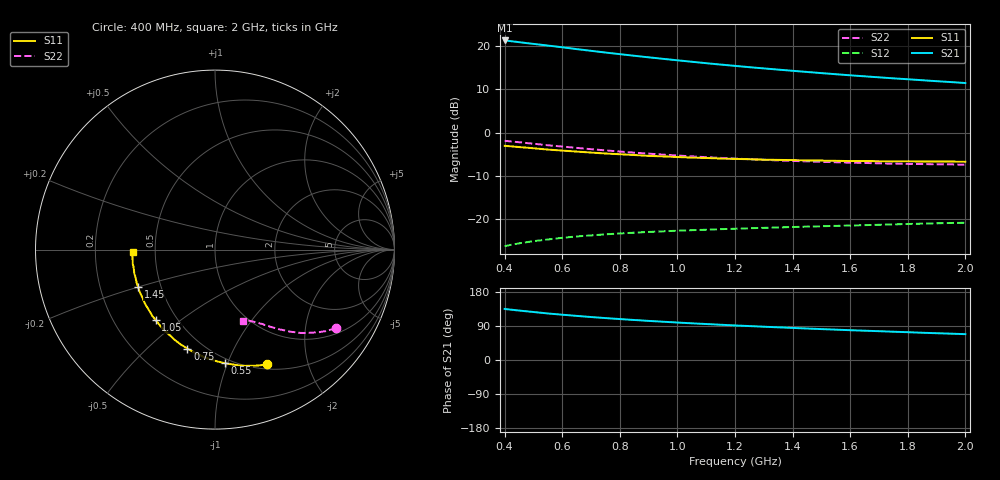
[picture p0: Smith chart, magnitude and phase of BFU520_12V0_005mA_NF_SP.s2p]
! Filename:  P:\Prog\Test\Noise\ATS_data\Testdata_Net\06 Compressed Noise after Statistics\BFU520_APG2013_37_A05_12p0V_005mA_NF_CM01_D.sf
! Date/Time: Fri 26/Apr/2013 14:13:13
! BFU520_APG2013_37_A05_12p0V_1to20mA_NF_CM01_Bias4_R.sf
! Noise Parameter Data File
! BFU520_APG2013_37_A05_12p0V_1to20mA_NF_CM01
! Date/time: Tue Apr 23 19:55:39 2013
! VAR V_out= 12.001000
! VAR I_out= 5.000000
! VAR V_in= 0.811500
! VAR I_in= 0.047705
! Device data file deembeded for feedlines and parallel
! Original file: \06 Compressed Noise after Statistics\BFU520_APG2013_37_A05_12p0V_005mA_NF_CM01_R.sf
! Feed-files: PR047V01_250413_Feed1.s2p, PR047V01_250413_Feed2.s2p
! Parallel-file: PR047V01_250413_Par.s2p
# MHz S MA R 50
!  Freq-MHz  S11-mag  S11-arg  S21-mag  S21-arg  S12-mag  S12-arg  S22-mag  S22-arg
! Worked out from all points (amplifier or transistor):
!   37 points, 400 MHz to 2 GHz, reference 50 ohm
!   highest |S21| = 21.3 dB at 400 MHz (marker M1)
!   |S21| within 3 dB of that: start of sweep to 778.4 MHz
!   unconditionally stable (mu >= 1): nowhere
!   at 500 MHz: K = 0.30, MSG = 22.8 dB, |S12| = -25.1 dB
!   at 1.1 GHz: K = 0.60, MSG = 19.2 dB, |S12| = -22.4 dB
!   at 2 GHz: K = 0.93, MSG = 16.1 dB, |S12| = -20.8 dB
!   lowest NFmin = 0.69 dB at 420 MHz
!   S11 on the Smith chart (normalised r, x): 400 MHz: 0.56, -1.40; 550 MHz: 0.46, -0.98; 750 MHz: 0.41, -0.68; 1.05 GHz: 0.38, -0.41; 1.45 GHz: 0.37, -0.20; 2 GHz: 0.37, -0.01
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400  0.7022 -65.6  11.56 134.7  0.04874 57.1  0.8025 -33.0
440  0.6843 -71.0  11.16 131.3  0.05177 55.0  0.7786 -35.2
460  0.6749 -73.5  10.95 129.8  0.05321 54.0  0.7674 -36.3
550  0.6359 -84.9  10.1 122.8  0.05821 50.1  0.713 -40.5
600  0.6186 -90.4  9.648 119.5  0.06086 48.4  0.6887 -42.4
650  0.6028 -95.7  9.189 116.4  0.0631 46.8  0.6648 -44.3
700  0.5869 -100.8  8.781 113.4  0.06489 45.5  0.6423 -45.8
750  0.5727 -105.5  8.388 110.7  0.06673 44.3  0.6225 -47.3
800  0.5613 -110.1  8.034 108.0  0.06831 43.3  0.6028 -48.7
850  0.5498 -114.4  7.697 105.6  0.06979 42.4  0.5858 -49.9
900  0.5376 -118.7  7.386 103.2  0.07114 41.6  0.5707 -51.1
950  0.53 -122.6  7.096 101.0  0.0723 40.9  0.5553 -52.2
1050  0.5132 -130.0  6.561 96.8  0.07452 39.9  0.5303 -54.3
1150  0.5007 -136.7  6.091 93.0  0.07661 39.1  0.5094 -56.0
1200  0.4957 -139.9  5.883 91.2  0.07751 38.8  0.4999 -56.9
1300  0.4859 -145.8  5.499 87.8  0.07937 38.5  0.4838 -58.4
1450  0.4757 -154.2  5.004 83.1  0.08196 38.1  0.4644 -60.7
1500  0.4745 -156.7  4.854 81.6  0.08276 38.1  0.4591 -61.4
1600  0.4684 -161.7  4.579 78.6  0.08438 38.0  0.4491 -62.9
1750  0.4642 -168.5  4.223 74.6  0.08691 38.2  0.437 -65.0
1850  0.4626 -172.7  4.016 71.9  0.08871 38.4  0.4325 -66.5
2000  0.4597 -178.3  3.727 68.2  0.09092 38.8  0.4252 -68.8
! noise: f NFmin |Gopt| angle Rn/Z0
400  0.7814  0.2327  18.98  0.1494
460  0.7342  0.1926  32.75  0.1232
600  0.7583  0.206  26.57  0.1496
800  0.7858  0.1845  45.43  0.1287
1000  0.8225  0.1946  57.88  0.1223
1200  0.8543  0.2005  69.7  0.1205
1400  0.8588  0.1919  83.04  0.1152
1600  0.9194  0.1765  97.98  0.1016
1800  0.8411  0.2052  113.5  0.0954
2000  0.938  0.1822  129.5  0.1029
